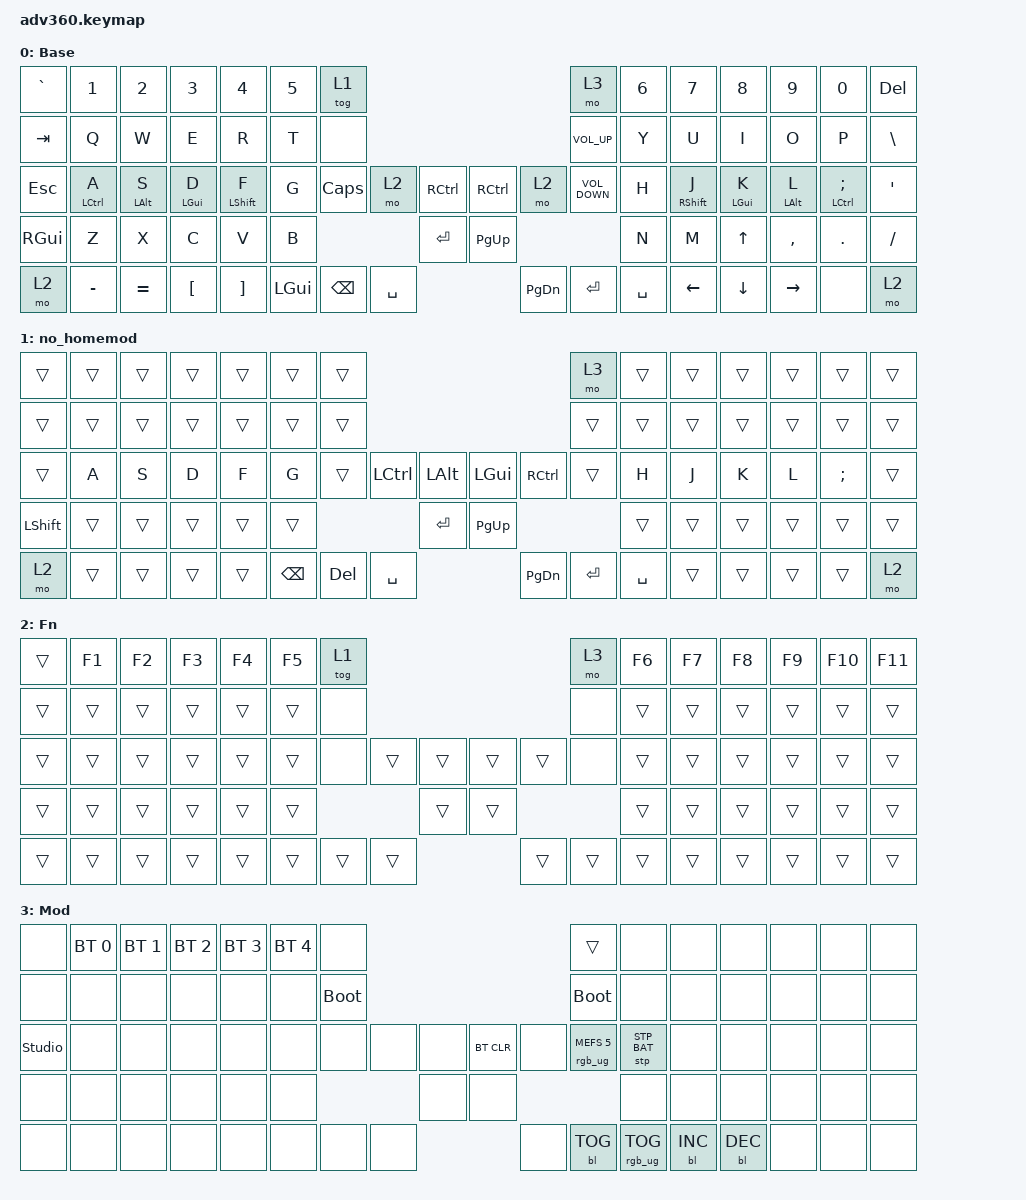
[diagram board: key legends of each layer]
#include <dt-bindings/zmk/stp.h>
#include <behaviors.dtsi>
#include <dt-bindings/zmk/backlight.h>
#include <dt-bindings/zmk/bt.h>
#include <dt-bindings/zmk/keys.h>
#include <dt-bindings/zmk/rgb.h>

/ {
    behaviors {
        #include "macros.dtsi"
      #include "version.dtsi"
      #ifndef VERSION_MACRO

        macro_ver: macro_ver {
            compatible = "zmk,behavior-macro";
            label = "macro_version";
            #binding-cells = <0>;
            bindings = <&kp RET>;
        };

        #endif

        hml: homerow_mods_left {
            compatible = "zmk,behavior-hold-tap";
            label = "HOMEROW_MODS_LEFT";
            #binding-cells = <2>;
            tapping-term-ms = <200>;
            flavor = "balanced";
            bindings = <&kp>, <&kp>;

            quick-tap-ms = <100>;
        };

        hmr: homerow_mods_right {
            compatible = "zmk,behavior-hold-tap";
            label = "HOMEROW_MODS_RIGHT";
            #binding-cells = <2>;
            tapping-term-ms = <200>;
            flavor = "balanced";
            bindings = <&kp>, <&kp>;

            quick-tap-ms = <100>;
        };
    };

    macros {
        press_and_release_z: press_and_release_z {
            compatible = "zmk,behavior-macro";
            #binding-cells = <0>;
            bindings = <&macro_press>, <&kp Z>, <&macro_release>;

            label = "PRESS_AND_RELEASE_Z";
        };
    };

    keymap {
        compatible = "zmk,keymap";

        default_layer {
            display-name = "Base";
            bindings = <
&kp GRAVE  &kp N1        &kp N2       &kp N3       &kp N4         &kp N5  &tog 1                                                                               &mo 3              &kp N6  &kp N7         &kp N8       &kp N9       &kp N0                &kp DELETE
&kp TAB    &kp Q         &kp W        &kp E        &kp R          &kp T   &none                                                                                &kp C_VOLUME_UP    &kp Y   &kp U          &kp I        &kp O        &kp P                 &kp BSLH
&kp ESC    &hml LCTRL A  &hml LALT S  &hml LGUI D  &hml LSHIFT F  &kp G   &kp CAPSLOCK            &mo 2          &kp RCTRL    &kp RCTRL  &mo 2                 &kp C_VOLUME_DOWN  &kp H   &hmr RSHIFT J  &hmr LGUI K  &hmr LALT L  &hmr LCTRL SEMICOLON  &kp SQT
&kp RGUI   &kp Z         &kp X        &kp C        &kp V          &kp B                                          &kp ENTER    &kp PG_UP                                           &kp N   &kp M          &kp UP       &kp COMMA    &kp DOT               &kp SLASH
&mo 2      &kp MINUS     &kp EQUAL    &kp LBKT     &kp RBKT                             &kp LGUI  &kp BACKSPACE  &kp SPACE    &kp PG_DN  &kp ENTER  &kp SPACE                             &kp LEFT       &kp DOWN     &kp RIGHT    &none                 &mo 2
            >;
        };

        no_homemod {
            display-name = "no_homemod";
            bindings = <
&trans     &trans  &trans  &trans  &trans  &trans  &trans                                                                     &mo 3   &trans  &trans  &trans  &trans  &trans         &trans
&trans     &trans  &trans  &trans  &trans  &trans  &trans                                                                     &trans  &trans  &trans  &trans  &trans  &trans         &trans
&trans     &kp A   &kp S   &kp D   &kp F   &kp G   &trans            &kp LCTRL  &kp LALT     &kp LGUI   &kp RCTRL             &trans  &kp H   &kp J   &kp K   &kp L   &kp SEMICOLON  &trans
&kp LSHFT  &trans  &trans  &trans  &trans  &trans                               &kp ENTER    &kp PG_UP                                &trans  &trans  &trans  &trans  &trans         &trans
&mo 2      &trans  &trans  &trans  &trans                  &kp BSPC  &kp DEL    &kp SPACE    &kp PG_DN  &kp ENTER  &kp SPACE                  &trans  &trans  &trans  &trans         &mo 2
            >;
        };

        fn {
            display-name = "Fn";
            bindings = <
&trans  &kp F1  &kp F2  &kp F3  &kp F4  &kp F5  &tog 1                                                    &mo 3  &kp F6  &kp F7  &kp F8  &kp F9  &kp F10  &kp F11
&trans  &trans  &trans  &trans  &trans  &trans  &none                                                     &none  &trans  &trans  &trans  &trans  &trans   &trans
&trans  &trans  &trans  &trans  &trans  &trans  &none           &trans  &trans    &trans  &trans          &none  &trans  &trans  &trans  &trans  &trans   &trans
&trans  &trans  &trans  &trans  &trans  &trans                          &trans    &trans                         &trans  &trans  &trans  &trans  &trans   &trans
&trans  &trans  &trans  &trans  &trans                  &trans  &trans  &trans    &trans  &trans  &trans                 &trans  &trans  &trans  &trans   &trans
            >;
        };

        mod {
            display-name = "Mod";
            bindings = <
&none           &bt BT_SEL 0  &bt BT_SEL 1  &bt BT_SEL 2  &bt BT_SEL 3  &bt BT_SEL 4  &none                                                                        &trans                  &none         &none       &none       &none  &none  &none
&none           &none         &none         &none         &none         &none         &bootloader                                                                  &bootloader             &none         &none       &none       &none  &none  &none
&studio_unlock  &none         &none         &none         &none         &none         &none               &none  &none    &bt BT_CLR  &none                        &rgb_ug RGB_MEFS_CMD 5  &stp STP_BAT  &none       &none       &none  &none  &none
&none           &none         &none         &none         &none         &none                                    &none    &none                                                            &none         &none       &none       &none  &none  &none
&none           &none         &none         &none         &none                                    &none  &none  &none    &none       &bl BL_TOG  &rgb_ug RGB_TOG                                        &bl BL_INC  &bl BL_DEC  &none  &none  &none
            >;
        };

        extra1 {
            display-name = "Red";
            status = "reserved";
        };

        extra2 {
            display-name = "Purple";
            status = "reserved";
        };

        extra3 {
            display-name = "Cyan";
            status = "reserved";
        };

        extra4 {
            display-name = "Yellow";
            status = "reserved";
        };
    };
};
